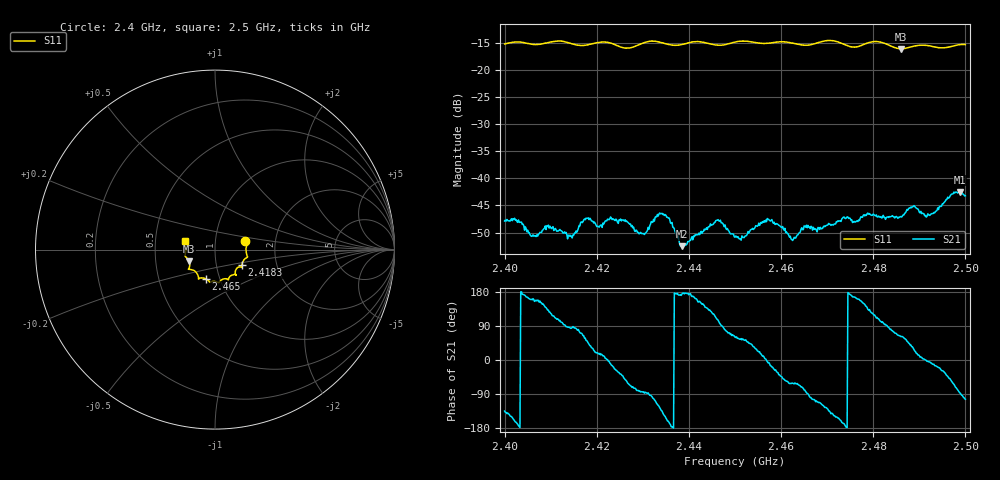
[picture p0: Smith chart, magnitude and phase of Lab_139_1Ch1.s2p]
# Hz S RI R 50
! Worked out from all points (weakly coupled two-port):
!   601 points, 2.4 GHz to 2.5 GHz, reference 50 ohm
!   highest |S21| = -42.49 dB at 2.4988 GHz (marker M1); lowest = -52.5 dB at 2.4385 GHz (marker M2)
!   lowest |S11| = -16.0 dB at 2.486 GHz (marker M3), VSWR 1.37, Z = 37.2 - j4.97 ohm
!   |S11| at or under -10 dB: start of sweep to end of sweep
!   S12 and S22 are empty: the file has one direction only
!   S11 on the Smith chart (normalised r, x): 2.4 GHz: 1.40, +0.13; 2.4183 GHz: 1.33, -0.24; 2.465 GHz: 0.86, -0.29; 2.5 GHz: 0.71, +0.07
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2.4e9  0.1688 0.0459  -0.00285 -0.00287  0 0  0 0
2.406333e9  0.1733 0.00503  -0.00274 0.00103  0 0  0 0
2.409333e9  0.1773 -0.0304  -0.00241 0.00269  0 0  0 0
2.414167e9  0.1715 -0.0479  0.000258 0.00291  0 0  0 0
2.416667e9  0.1549 -0.0684  0.0013 0.00375  0 0  0 0
2.418333e9  0.1497 -0.0869  0.00313 0.00274  0 0  0 0
2.430167e9  0.1143 -0.1379  0.00032 -0.00307  0 0  0 0
2.433333e9  0.1166 -0.1415  -0.00221 -0.00391  0 0  0 0
2.435333e9  0.1053 -0.1389  -0.00414 -0.00145  0 0  0 0
2.4385e9  0.0796 -0.1536  -0.00235 0.000238  0 0  0 0
2.446333e9  0.0499 -0.1632  -0.00108 0.00402  0 0  0 0
2.45e9  0.0252 -0.1807  0.00141 0.00249  0 0  0 0
2.4575e9  -0.0142 -0.1777  0.00403 -0.000702  0 0  0 0
2.462667e9  -0.0346 -0.1742  0.00128 -0.00242  0 0  0 0
2.465e9  -0.0527 -0.1621  0.000699 -0.00357  0 0  0 0
2.466667e9  -0.0714 -0.1575  -0.000784 -0.00349  0 0  0 0
2.483333e9  -0.142 -0.0956  0.000296 0.00435  0 0  0 0
2.486e9  -0.1437 -0.0652  0.0021 0.00392  0 0  0 0
2.488667e9  -0.161 -0.0425  0.00469 0.00288  0 0  0 0
2.492667e9  -0.1651 -0.0224  0.00468 -0.000687  0 0  0 0
2.498833e9  -0.1677 0.0415  0.000374 -0.00749  0 0  0 0
2.5e9  -0.1666 0.0471  -0.00161 -0.00673  0 0  0 0
